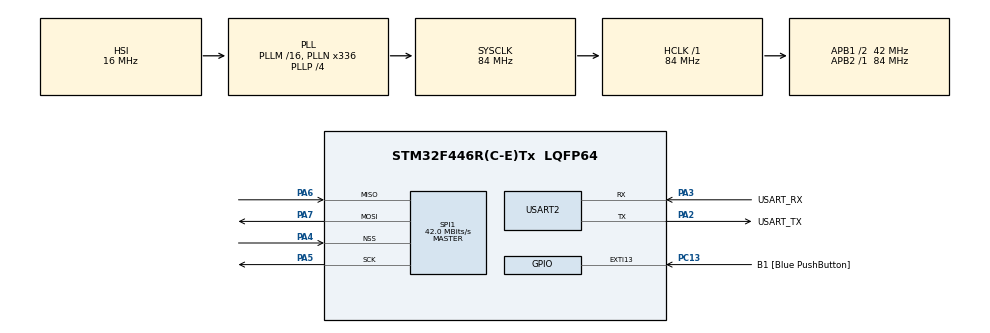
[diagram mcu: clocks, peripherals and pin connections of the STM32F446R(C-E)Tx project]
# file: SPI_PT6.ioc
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Mcu.Family=STM32F4
Mcu.Name=STM32F446R(C-E)Tx
Mcu.Package=LQFP64
NVIC.PriorityGroup=NVIC_PRIORITYGROUP_0
PA13.GPIO_Label=TMS
PA13.Mode=Serial_Wire
PA13.Signal=SYS_JTMS-SWDIO
PA14.GPIO_Label=TCK
PA14.Mode=Serial_Wire
PA14.Signal=SYS_JTCK-SWCLK
PA2.GPIO_Label=USART_TX
PA2.Mode=Asynchronous
PA2.Signal=USART2_TX
PA3.GPIO_Label=USART_RX
PA3.Mode=Asynchronous
PA3.Signal=USART2_RX
PA4.Mode=NSS_Signal_Hard_Input
PA4.Signal=SPI1_NSS
PA5.Mode=Full_Duplex_Master
PA5.Signal=SPI1_SCK
PA6.Mode=Full_Duplex_Master
PA6.Signal=SPI1_MISO
PA7.Mode=Full_Duplex_Master
PA7.Signal=SPI1_MOSI
PB3.GPIO_Label=SWO
PB3.Signal=SYS_JTDO-SWO
PC13.GPIO_Label=B1 [Blue PushButton]
PC13.GPIO_ModeDefaultEXTI=GPIO_MODE_IT_FALLING
PC13.Signal=GPXTI13
PC14-OSC32_IN.Mode=LSE-External-Oscillator
PC14-OSC32_IN.Signal=RCC_OSC32_IN
PC15-OSC32_OUT.Mode=LSE-External-Oscillator
PC15-OSC32_OUT.Signal=RCC_OSC32_OUT
PH0-OSC_IN.Mode=HSE-External-Oscillator
PH0-OSC_IN.Signal=RCC_OSC_IN
PH1-OSC_OUT.Mode=HSE-External-Oscillator
PH1-OSC_OUT.Signal=RCC_OSC_OUT
ProjectManager.HeapSize=0x200
ProjectManager.StackSize=0x400
ProjectManager.TargetToolchain=STM32CubeIDE
RCC.48MHZClocksFreq_Value=84000000
RCC.AHBFreq_Value=84000000
RCC.APB1CLKDivider=RCC_HCLK_DIV2
RCC.APB1Freq_Value=42000000
RCC.APB1TimFreq_Value=84000000
RCC.APB2Freq_Value=84000000
RCC.APB2TimFreq_Value=84000000
RCC.CortexFreq_Value=84000000
RCC.FLatency-AdvancedSettings=FLASH_LATENCY_2
RCC.HCLKFreq_Value=84000000
RCC.HSE_VALUE=8000000
RCC.HSI_VALUE=16000000
RCC.PLLN=336
RCC.PLLP=RCC_PLLP_DIV4
RCC.SYSCLKFreq_VALUE=84000000
RCC.SYSCLKSource=RCC_SYSCLKSOURCE_PLLCLK
RCC.USBFreq_Value=168000000
RCC.VCOOutputFreq_Value=336000000
SPI1.CalculateBaudRate=42.0 MBits/s
SPI1.Direction=SPI_DIRECTION_2LINES
SPI1.Mode=SPI_MODE_MASTER
SPI1.VirtualNSS=VM_NSSHARD
SPI1.VirtualType=VM_MASTER
USART2.VirtualMode=VM_ASYNC
board=NUCLEO-F446RE

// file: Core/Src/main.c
/* USER CODE BEGIN Header */
/**
  ******************************************************************************
  * @file           : main.c
  * @brief          : Main program body
  ******************************************************************************
  * @attention
  *
  * Copyright (c) 2025 STMicroelectronics.
  * All rights reserved.
  *
  * This software is licensed under terms that can be found in the LICENSE file
  * in the root directory of this software component.
  * If no LICENSE file comes with this software, it is provided AS-IS.
  *
  ******************************************************************************
  */
/* USER CODE END Header */
#include "main.h"

SPI_HandleTypeDef hspi1;

UART_HandleTypeDef huart2;

/* USER CODE BEGIN PV */
uint32_t msTICKS = 0;
#define LEDCOUNT 36
#define GLOBAL 0
#define RED 1
#define GREEN 2
#define BLUE 3
uint8_t LED_ARRAY[LEDCOUNT][4];
/* USER CODE END PV */

void SystemClock_Config(void);
static void MX_GPIO_Init(void);
static void MX_USART2_UART_Init(void);
static void MX_SPI1_Init(void);

int main(void)
{

  /* MCU Configuration--------------------------------------------------------*/

  /* Reset of all peripherals, Initializes the Flash interface and the Systick. */
  HAL_Init();

  /* Configure the system clock */
  SystemClock_Config();

  /* Initialize all configured peripherals */
  MX_GPIO_Init();
  MX_USART2_UART_Init();
  MX_SPI1_Init();

  /* Infinite loop */
  while (1)
  {

  }
}

void SystemClock_Config(void)
{
  RCC_OscInitTypeDef RCC_OscInitStruct = {0};
  RCC_ClkInitTypeDef RCC_ClkInitStruct = {0};

  /** Configure the main internal regulator output voltage
  */
  __HAL_RCC_PWR_CLK_ENABLE();
  __HAL_PWR_VOLTAGESCALING_CONFIG(PWR_REGULATOR_VOLTAGE_SCALE3);

  /** Initializes the RCC Oscillators according to the specified parameters
  * in the RCC_OscInitTypeDef structure.
  */
  RCC_OscInitStruct.OscillatorType = RCC_OSCILLATORTYPE_HSI;
  RCC_OscInitStruct.HSIState = RCC_HSI_ON;
  RCC_OscInitStruct.HSICalibrationValue = RCC_HSICALIBRATION_DEFAULT;
  RCC_OscInitStruct.PLL.PLLState = RCC_PLL_ON;
  RCC_OscInitStruct.PLL.PLLSource = RCC_PLLSOURCE_HSI;
  RCC_OscInitStruct.PLL.PLLM = 16;
  RCC_OscInitStruct.PLL.PLLN = 336;
  RCC_OscInitStruct.PLL.PLLP = RCC_PLLP_DIV4;
  RCC_OscInitStruct.PLL.PLLQ = 2;
  RCC_OscInitStruct.PLL.PLLR = 2;
  if (HAL_RCC_OscConfig(&RCC_OscInitStruct) != HAL_OK)
  {
    Error_Handler();
  }

  /** Initializes the CPU, AHB and APB buses clocks
  */
  RCC_ClkInitStruct.ClockType = RCC_CLOCKTYPE_HCLK|RCC_CLOCKTYPE_SYSCLK
                              |RCC_CLOCKTYPE_PCLK1|RCC_CLOCKTYPE_PCLK2;
  RCC_ClkInitStruct.SYSCLKSource = RCC_SYSCLKSOURCE_PLLCLK;
  RCC_ClkInitStruct.AHBCLKDivider = RCC_SYSCLK_DIV1;
  RCC_ClkInitStruct.APB1CLKDivider = RCC_HCLK_DIV2;
  RCC_ClkInitStruct.APB2CLKDivider = RCC_HCLK_DIV1;

  if (HAL_RCC_ClockConfig(&RCC_ClkInitStruct, FLASH_LATENCY_2) != HAL_OK)
  {
    Error_Handler();
  }
}

static void MX_SPI1_Init(void)
{

  /* SPI1 parameter configuration*/
  hspi1.Instance = SPI1;
  hspi1.Init.Mode = SPI_MODE_MASTER;
  hspi1.Init.Direction = SPI_DIRECTION_2LINES;
  hspi1.Init.DataSize = SPI_DATASIZE_8BIT;
  hspi1.Init.CLKPolarity = SPI_POLARITY_LOW;
  hspi1.Init.CLKPhase = SPI_PHASE_1EDGE;
  hspi1.Init.NSS = SPI_NSS_HARD_INPUT;
  hspi1.Init.BaudRatePrescaler = SPI_BAUDRATEPRESCALER_2;
  hspi1.Init.FirstBit = SPI_FIRSTBIT_MSB;
  hspi1.Init.TIMode = SPI_TIMODE_DISABLE;
  hspi1.Init.CRCCalculation = SPI_CRCCALCULATION_DISABLE;
  hspi1.Init.CRCPolynomial = 10;
  if (HAL_SPI_Init(&hspi1) != HAL_OK)
  {
    Error_Handler();
  }

}

static void MX_USART2_UART_Init(void)
{

  huart2.Instance = USART2;
  huart2.Init.BaudRate = 115200;
  huart2.Init.WordLength = UART_WORDLENGTH_8B;
  huart2.Init.StopBits = UART_STOPBITS_1;
  huart2.Init.Parity = UART_PARITY_NONE;
  huart2.Init.Mode = UART_MODE_TX_RX;
  huart2.Init.HwFlowCtl = UART_HWCONTROL_NONE;
  huart2.Init.OverSampling = UART_OVERSAMPLING_16;
  if (HAL_UART_Init(&huart2) != HAL_OK)
  {
    Error_Handler();
  }

}

static void MX_GPIO_Init(void)
{
  GPIO_InitTypeDef GPIO_InitStruct = {0};

  /* GPIO Ports Clock Enable */
  __HAL_RCC_GPIOC_CLK_ENABLE();
  __HAL_RCC_GPIOH_CLK_ENABLE();
  __HAL_RCC_GPIOA_CLK_ENABLE();
  __HAL_RCC_GPIOB_CLK_ENABLE();

  /*Configure GPIO pin : B1_Pin */
  GPIO_InitStruct.Pin = B1_Pin;
  GPIO_InitStruct.Mode = GPIO_MODE_IT_FALLING;
  GPIO_InitStruct.Pull = GPIO_NOPULL;
  HAL_GPIO_Init(B1_GPIO_Port, &GPIO_InitStruct);

}

/* USER CODE BEGIN 4 */
void setupDevice(void){
	//setClockto32Mhz();
	SystemCoreClockUpdate();
	SysTick_Config(SystemCoreClock/1000);
}

void setupSPI(void){
	//turn on the clocks
	RCC->AHB1ENR |= RCC_AHB1ENR_GPIOAEN;
	RCC-> APB2ENR |= RCC_APB2ENR_SPI1EN;

	//SET UP THE GPIO
	GPIOA->MODER &= ~(GPIO_MODER_MODER5 | GPIO_MODER_MODE7);
	GPIOA-> MODER |=(GPIO_MODER_MODER5_1 | GPIO_MODER_MODE7_1);

	//CONFIGURE THE SPI
	SPI1->CR1 = SPI_CR1_BIDIMODE | SPI_CR1_BIDIOE | SPI_CR1_SSM | (0X3UL<< SPI_CR1_BR_Pos) | SPI_CR1_MSTR | SPI_CR1_CPHA |SPI_CR1_CPOL ;
	SPI1->CR2 |=SPI_CR2_SSOE;
	SPI1->CR1 |= SPI_CR1_SPE; //ENABLE THE SPI

}
void spi_send(uint8_t data){

	SPI1->DR =data;
	while((SPI1->SR & SPI_SR_TXE) == 0);

}

void clearArray(void){
	int i;
	int j;
	for (i =0 ; i< LEDCOUNT ; i++){
		LED_ARRAY[i][GLOBAL]= 0xE0;
		for (j =0 ; j< 4 ; j++){
			LED_ARRAY[i][j]= 0x00;
		}

	}
}
void skSetLed(uint8_t index, uint8_t global, uint8_t red,uint8_t blue, uint8_t green){
	LED_ARRAY[index][GLOBAL] = (0xE0 | global);
	LED_ARRAY[index][RED] = red;
	LED_ARRAY[index][BLUE] = blue;
	LED_ARRAY[index][GREEN] = green;
}
void skUpdate(void){

	//send start frame
	uint8_t i, j;
	for(i = 0 ; i<4 ; i++){
		spi_send(0x00);
	}

	//led rams
	for(i=0; i<LEDCOUNT; i++){
		spi_send( LED_ARRAY[i][j]);
		for(j=0 ; j<4; j++){
			spi_send( LED_ARRAY[i][j]);
		}
	}

	//end frames
	for(i = 0 ; i<4 ; i++){
		spi_send(0xFF);
	}
}

/* USER CODE END 4 */

void Error_Handler(void)
{
  __disable_irq();
  while (1)
  {
  }
}
